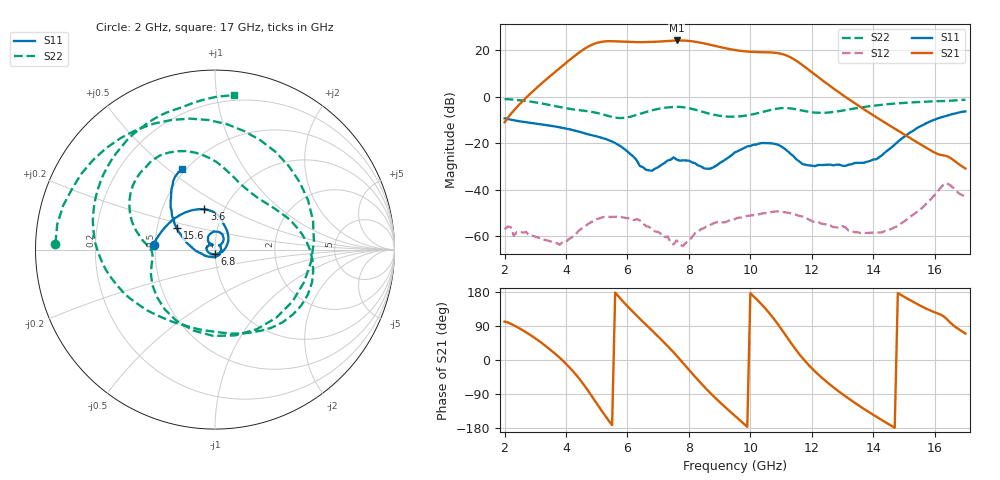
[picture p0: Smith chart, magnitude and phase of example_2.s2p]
# GHz  S  DB  R  50
!%	Freq(GHz)  S11(dB)  S11(deg)  S21(dB)  S21(deg)  S12(dB)  S12(deg)  S22(dB)  S22(deg)
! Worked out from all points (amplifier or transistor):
!   151 points, 2 GHz to 17 GHz, reference 50 ohm
!   highest |S21| = 24.3 dB at 7.6 GHz (marker M1)
!   |S21| within 3 dB of that: 4.675 GHz to 9.064 GHz (4.389 GHz wide, 63.9 % of centre)
!   unconditionally stable (mu >= 1): start of sweep to end of sweep
!   at 4.5 GHz: K = 25.43, MAG = 21.3 dB, |S12| = -56.9 dB
!   at 9.5 GHz: K = 18.12, MAG = 20.9 dB, |S12| = -52.7 dB
!   at 17 GHz: K = 472.35, MAG = -23.7 dB, |S12| = -43.0 dB
!   S11 on the Smith chart (normalised r, x): 2 GHz: 0.49, +0.03; 3.6 GHz: 0.81, +0.38; 6.8 GHz: 1.00, -0.05; 15.6 GHz: 0.63, +0.16; 17 GHz: 0.48, +0.56
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2  -9.28 175.3  -10.97 101.1  -57.08 106.6  -1.01 177.8
3.6  -12.66 104.8  10.23 19.5  -62.88 61.8  -3.87 58.2
4.1  -13.94 88.3  15.74 -18.6  -61.21 91.5  -5.15 4.7
4.5  -15.29 77.9  19.82 -56.6  -56.85 90.2  -5.84 -47.9
5  -17.04 66.9  23.23 -115.0  -52.75 69.8  -6.91 -118.2
5.5  -19.26 47.6  23.99 -171.8  -51.77 41.4  -8.70 -164.9
5.8  -21.52 30.0  23.82 159.2  -51.78 23.2  -9.13 -176.4
6.2  -25.85 -1.1  23.61 125.1  -53.14 1.9  -8.18 174.8
6.8  -31.83 -87.8  23.68 77.7  -57.11 -30.6  -5.79 157.2
7  -30.32 -124.0  23.82 61.9  -58.22 -40.1  -5.19 149.9
7.6  -27.02 156.6  24.31 11.3  -61.88 -110.2  -4.32 125.6
8  -27.49 132.5  24.11 -25.8  -62.16 138.3  -4.88 105.9
8.4  -30.03 114.4  23.29 -62.1  -57.00 90.8  -6.26 88.7
9  -28.53 128.8  21.50 -110.9  -53.90 46.3  -8.17 68.2
9.5  -23.90 127.7  20.18 -147.5  -52.70 26.7  -8.55 50.7
10.2  -20.54 101.9  19.30 160.6  -50.76 -11.8  -7.14 24.0
10.8  -20.27 70.1  19.00 105.0  -49.43 -49.2  -5.25 -6.1
11.4  -25.50 43.1  16.35 36.1  -50.43 -93.9  -5.15 -47.1
12  -29.62 46.8  10.62 -21.9  -53.52 -124.2  -6.65 -84.9
14.5  -22.78 -157.7  -12.08 -169.2  -57.37 -138.7  -3.10 166.6
15.6  -12.28 150.6  -20.98 140.5  -47.83 -148.2  -2.14 129.0
17  -6.29 112.0  -30.89 69.8  -43.03 51.8  -1.24 83.1
